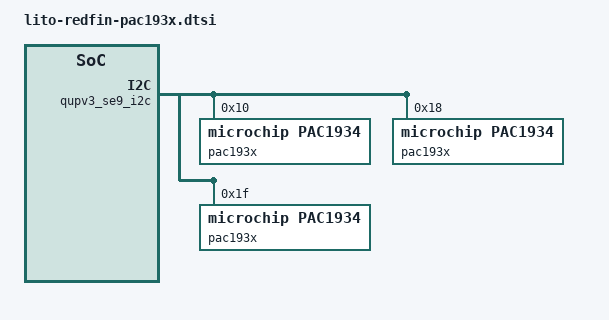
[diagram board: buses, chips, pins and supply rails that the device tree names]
// SPDX-License-Identifier: GPL-2.0
/* Copyright (c) 2018, The Linux Foundation. All rights reserved.
 *
 * This program is free software; you can redistribute it and/or modify
 * it under the terms of the GNU General Public License version 2 and
 * only version 2 as published by the Free Software Foundation.
 *
 * This program is distributed in the hope that it will be useful,
 * but WITHOUT ANY WARRANTY; without even the implied warranty of
 * MERCHANTABILITY or FITNESS FOR A PARTICULAR PURPOSE.  See the
 * GNU General Public License for more details.
 */
&qupv3_se9_i2c {
	status = "ok";
	qcom,clk-freq-out = <400000>;
	pac193x@10 {
		compatible = "microchip,pac1934";
		reg = <0x10>;
		samp-rate = <64>;
		status = "okay";
		ch1: channel@0 {
		     uohms-shunt-res = <10000>;
		     rail-name = "PPVAR_VPH_PWR_OLED";
		     subsys-name = "Display";
		     channel_enabled;
		};
		ch2: channel@1 {
		     uohms-shunt-res = <10000>;
		     rail-name = "PPVAR_VPH_PWR_WLAN";
		     subsys-name = "WLAN";
		     channel_enabled;
		};
		ch3: channel@2 {
		     uohms-shunt-res = <10000>;
		     rail-name = "WCN3998_VDD13 [from PP1304_L2C]";
		     subsys-name = "WLAN";
		     channel_enabled;
		};
		ch4: channel@3 {
		     uohms-shunt-res = <10000>;
		     rail-name = "PPVAR_VPH_PWR_S1C";
		     subsys-name = "CPU(SILVER)";
		     channel_enabled;
		};
	};

	pac193x@18 {
		compatible = "microchip,pac1934";
		reg = <0x18>;
		samp-rate = <64>;
		status = "okay";
		ch5: channel@0 {
		     uohms-shunt-res = <10000>;
		     rail-name = "PPVAR_VPH_PWR_S2A_S3A";
		     subsys-name = "CPU(GOLD)";
		     channel_enabled;
		};
		ch6: channel@1 {
		     uohms-shunt-res = <10000>;
		     rail-name = "PPVAR_VPH_PWR_S1A_S9A_S10A";
		     subsys-name = "VDD_CX(SM7250)";
		     channel_enabled;
		};
		ch7: channel@2 {
		     rail-name = "NC";
		};
		ch8: channel@3 {
		     rail-name = "NC";
		};
	};

	pac193x@1f {
		compatible = "microchip,pac1934";
		reg = <0x1f>;
		samp-rate = <64>;
		status = "okay";
		ch9: channel@0 {
		     uohms-shunt-res = <10000>;
		     rail-name = "PPVAR_VPH_PWR_RF";
		     subsys-name = "Cellular";
		     channel_enabled;
		};
		ch10: channel@1 {
		     uohms-shunt-res = <10000>;
		     rail-name = "PPVAR_VPH_PWR_QTM525";
		     subsys-name = "Cellular(mmWave)";
		     channel_enabled;
		};
		ch11: channel@2 {
		     rail-name = "NC";
		};
		ch12: channel@3 {
		     rail-name = "NC";
		};
	};
};
